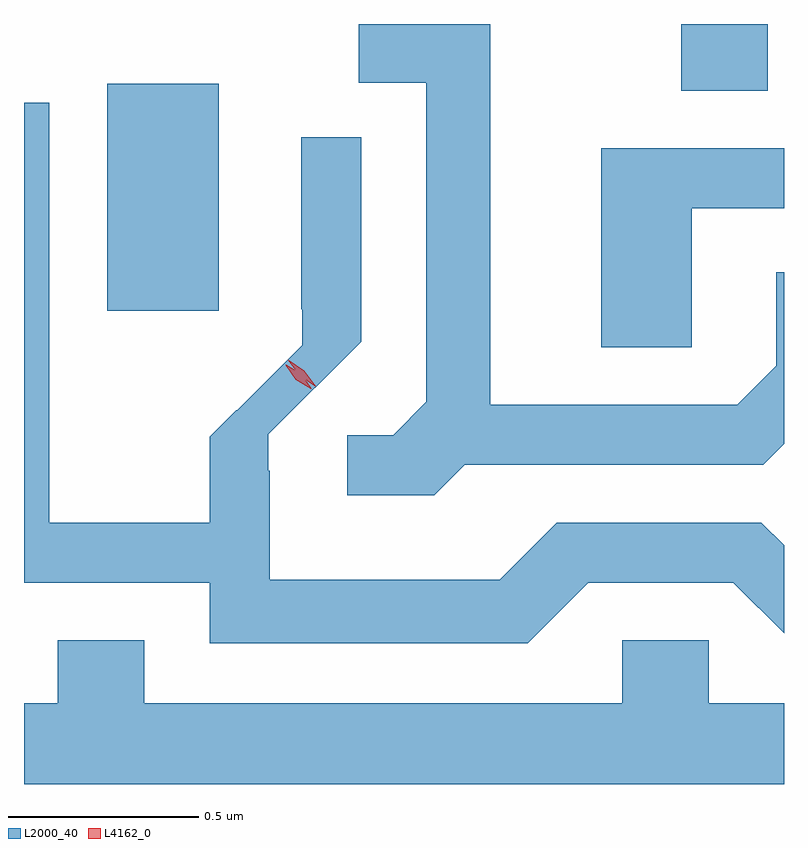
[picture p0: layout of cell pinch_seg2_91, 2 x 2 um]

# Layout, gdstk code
import gdstk
lib = gdstk.Library(unit=1e-6, precision=1e-09)
def R(c, l, rs):  # rectangles x0, y0, x1, y1
    for r in rs: c.add(gdstk.rectangle(r[:2], r[2:], *l))
def P(c, l, *ps):  # polygons
    for p in ps: c.add(gdstk.Polygon(p, *l))
L2000_40 = (2000, 40)
L4162_0 = (4162, 0)

pinch_seg2_91 = lib.new_cell('pinch_seg2_91')
R(pinch_seg2_91, L2000_40, [(1125.431,987.456,1125.724,988.054), (1126.941,988.036,1127.169,988.211)])
P(pinch_seg2_91, L2000_40, [(1126.372,987.051),(1127.157,987.051),(1127.212,987.106),(1127.212,987.558),(1127.191,987.558),(1127.191,987.312),(1127.089,987.209),(1126.439,987.209),(1126.439,988.211),(1126.093,988.211),(1126.093,988.056),(1126.271,988.056),(1126.271,987.217),(1126.184,987.129),(1126.063,987.129),(1126.063,986.971),(1126.292,986.971)],
  [(1126.697,986.741),(1127.079,986.741),(1127.212,986.608),(1127.212,986.839),(1127.152,986.899),(1126.614,986.899),(1126.464,986.749),(1125.859,986.749),(1125.859,987.036),(1125.855,987.036),(1125.855,987.131),(1126.099,987.375),(1126.099,987.913),(1125.941,987.913),(1125.941,987.46),(1125.944,987.46),(1125.944,987.365),(1125.773,987.194),(1125.771,987.195),(1125.701,987.125),(1125.701,986.899),(1125.279,986.899),(1125.279,988.004),(1125.212,988.004),(1125.212,986.741),(1125.701,986.741),(1125.701,986.581),(1126.537,986.581)],
  [(1126.969,987.726),(1127.212,987.726),(1127.212,987.884),(1126.731,987.884),(1126.731,987.361),(1126.969,987.361)],
  [(1127.212,986.424),(1127.014,986.424),(1127.014,986.589),(1126.786,986.589),(1126.786,986.424),(1125.529,986.424),(1125.529,986.589),(1125.301,986.589),(1125.301,986.424),(1125.212,986.424),(1125.212,986.211),(1127.212,986.211)])
P(pinch_seg2_91, L4162_0, [(1125.967,987.251),(1125.927,987.275),(1125.901,987.313),(1125.901,987.314),(1125.902,987.314),(1125.942,987.29),(1125.968,987.252),(1125.968,987.251)],
  [(1125.98,987.257),(1125.937,987.285),(1125.907,987.326),(1125.907,987.327),(1125.908,987.327),(1125.95,987.299),(1125.98,987.258),(1125.98,987.257)])

lib.write_gds('pinch_seg2_91.gds')
